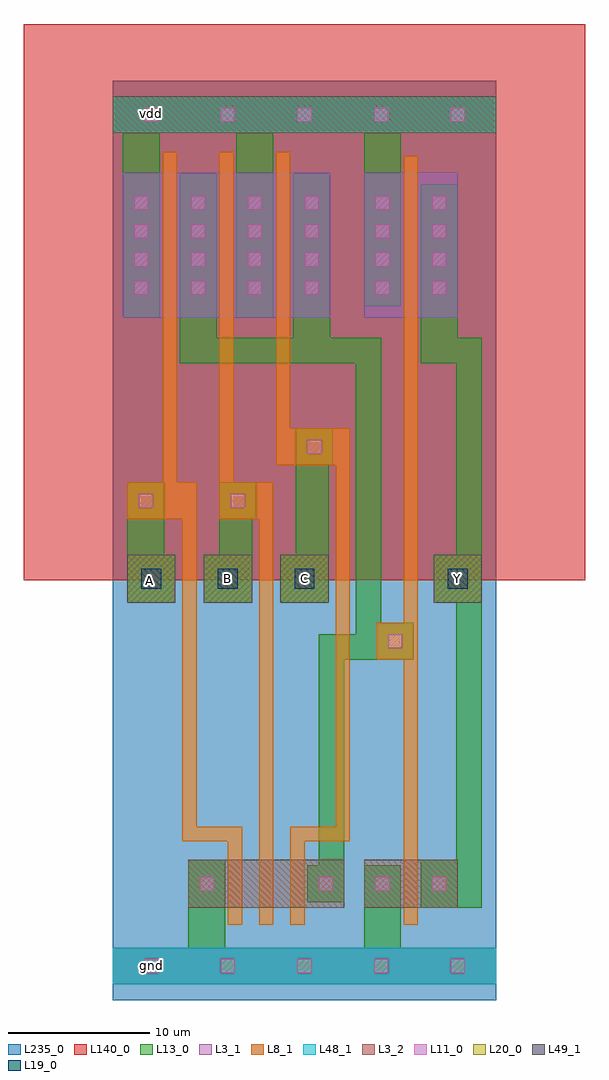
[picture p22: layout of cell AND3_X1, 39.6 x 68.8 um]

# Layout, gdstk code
import gdstk
lib = gdstk.Library(unit=1e-6, precision=1e-09)
def R(c, l, rs):  # rectangles x0, y0, x1, y1
    for r in rs: c.add(gdstk.rectangle(r[:2], r[2:], *l))
def A(c, l, x, y, w, h, nx, ny, dx, dy):  # array of equal rectangles
    R(c, l, [(x+i*dx, y+j*dy, x+i*dx+w, y+j*dy+h) for i in range(nx) for j in range(ny)])
def P(c, l, *ps):  # polygons
    for p in ps: c.add(gdstk.Polygon(p, *l))
L3_1 = (3, 1)
L3_2 = (3, 2)
L8_1 = (8, 1)
L11_0 = (11, 0)
L13_0 = (13, 0)
L19_0 = (19, 0)
L20_0 = (20, 0)
L48_1 = (48, 1)
L49_1 = (49, 1)
L140_0 = (140, 0)
L235_0 = (235, 0)

and3_x1 = lib.new_cell('AND3_X1')
R(and3_x1, L3_1, [(0,1.1,27,3.7), (0.7,48.1,7.3,58.3), (4.7,48.1,11.3,58.3), (11.3,48.1,15.3,58.3), (17.7,48.1,24.3,58.3)])
R(and3_x1, L3_2, [(5.3,6.5,16.3,9.9), (17.7,6.5,24.3,9.9), (0,61.1,27,63.7)])
P(and3_x1, L8_1, [(20.5,5.3),(20.5,24),(18.6,24),(18.6,26.6),(20.5,26.6),(20.5,59.5),(21.5,59.5),(21.5,5.3)],
  [(8.1,5.3),(8.1,11.2),(4.9,11.2),(4.9,33.9),(1,33.9),(1,36.5),(3.5,36.5),(3.5,59.8),(4.5,59.8),(4.5,36.5),(5.9,36.5),(5.9,12.2),(9.1,12.2),(9.1,5.3)],
  [(10.3,5.3),(10.3,33.9),(7.5,33.9),(7.5,59.8),(8.5,59.8),(8.5,36.5),(11.3,36.5),(11.3,5.3)],
  [(12.5,5.3),(12.5,12.2),(15.7,12.2),(15.7,37.7),(11.5,37.7),(11.5,59.8),(12.5,59.8),(12.5,40.3),(16.7,40.3),(16.7,11.2),(13.5,11.2),(13.5,5.3)])
A(and3_x1, L11_0, 13, 1.9, 1, 1, 3, 2, 5.4, 60)
A(and3_x1, L11_0, 14.5, 7.7, 1, 1, 3, 1, 4, 0)
A(and3_x1, L11_0, 1.5, 49.7, 1, 1, 4, 4, 4, 2)
A(and3_x1, L11_0, 18.5, 49.7, 1, 1, 1, 4, 0, 2)
A(and3_x1, L11_0, 22.5, 49.7, 1, 1, 1, 4, 0, 2)
R(and3_x1, L11_0, [(2.2,1.9,3.2,2.9), (7.6,1.9,8.6,2.9), (7.6,1.9,8.6,2.9), (13,1.9,14,2.9), (6.1,7.7,7.1,8.7), (19.4,24.8,20.4,25.8), (1.8,34.7,2.8,35.7), (8.3,34.7,9.3,35.7), (13.7,38.5,14.7,39.5), (2.2,61.9,3.2,62.9), (2.2,61.9,3.2,62.9), (7.6,61.9,8.6,62.9), (7.6,61.9,8.6,62.9), (7.6,61.9,8.6,62.9), (7.6,61.9,8.6,62.9), (13,61.9,14,62.9)])
R(and3_x1, L13_0, [(5.3,3.7,7.9,9.9), (17.7,3.7,20.3,9.5), (0.7,48.1,3.3,61.1), (8.7,48.1,11.3,61.1), (17.7,48.9,20.3,61.1), (0,61.1,27,63.7)])
P(and3_x1, L13_0, [(0,1.1),(0,3.7),(0.7,3.7),(3.3,3.7),(27,3.7),(27,1.1)],
  [(1,28),(1,36.5),(3.6,36.5),(3.6,31.4),(4.4,31.4),(4.4,28)],
  [(6.4,28),(6.4,31.4),(7.5,31.4),(7.5,36.5),(10.1,36.5),(10.1,33.9),(9.8,33.9),(9.8,28)],
  [(11.8,28),(11.8,31.4),(12.9,31.4),(12.9,40.3),(15.5,40.3),(15.5,37.7),(15.2,37.7),(15.2,28)],
  [(21.7,6.5),(21.7,9.9),(24.2,9.9),(24.2,28),(22.6,28),(22.6,31.4),(24.2,31.4),(24.2,44.9),(21.7,44.9),(21.7,57.5),(24.3,57.5),(24.3,46.7),(26,46.7),(26,6.5)],
  [(13.7,6.9),(13.7,9.5),(14.5,9.5),(14.5,25.8),(17.1,25.8),(17.1,44.9),(4.7,44.9),(4.7,58.3),(7.3,58.3),(7.3,46.7),(12.7,46.7),(12.7,58.3),(15.3,58.3),(15.3,46.7),(18.9,46.7),(18.9,26.6),(21.2,26.6),(21.2,24),(16.3,24),(16.3,6.9)])
A(and3_x1, L19_0, 2, 29, 1.4, 1.4, 3, 1, 5.4, 0)
R(and3_x1, L19_0, [(23.6,29,25,30.4)])
A(and3_x1, L20_0, 1, 28, 3.4, 3.4, 3, 1, 5.4, 0)
R(and3_x1, L20_0, [(22.6,28,26,31.4)])
R(and3_x1, L48_1, [(0,1.1,27,3.7), (0,61.1,27,63.7)])
A(and3_x1, L49_1, 1, 28, 3.4, 3.4, 3, 1, 5.4, 0)
R(and3_x1, L49_1, [(22.6,28,26,31.4)])
R(and3_x1, L140_0, [(-6.3,29.6,33.3,68.8)])
R(and3_x1, L235_0, [(0,0,27,64.8)])
and3_x1.add(gdstk.Label('Y', (24.3,29.7), layer=49, texttype=0))
and3_x1.add(gdstk.Label('C', (13.5,29.7), layer=49, texttype=0))
and3_x1.add(gdstk.Label('A', (2.6,29.6), layer=49, texttype=0))
and3_x1.add(gdstk.Label('B', (8.1,29.7), layer=49, texttype=0))
and3_x1.add(gdstk.Label('gnd', (2.7,2.4), layer=48, texttype=0))
and3_x1.add(gdstk.Label('vdd', (2.7,62.5), layer=48, texttype=0))

lib.write_gds('AND3_X1.gds')
